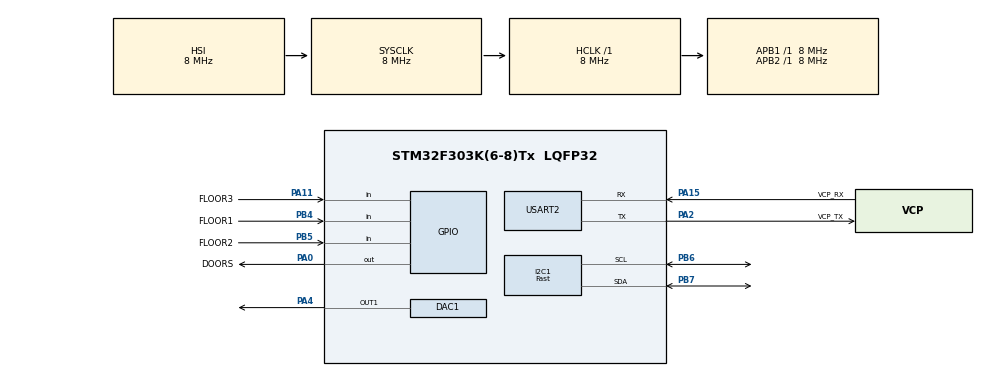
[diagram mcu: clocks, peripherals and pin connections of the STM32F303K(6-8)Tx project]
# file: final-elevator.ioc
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DAC1.DAC_Trigger=DAC_TRIGGER_T2_TRGO
Dma.DAC1_CH1.0.Direction=DMA_MEMORY_TO_PERIPH
Dma.DAC1_CH1.0.Instance=DMA1_Channel3
Dma.DAC1_CH1.0.MemDataAlignment=DMA_MDATAALIGN_BYTE
Dma.DAC1_CH1.0.MemInc=DMA_MINC_ENABLE
Dma.DAC1_CH1.0.Mode=DMA_CIRCULAR
Dma.DAC1_CH1.0.PeriphDataAlignment=DMA_PDATAALIGN_BYTE
Dma.DAC1_CH1.0.PeriphInc=DMA_PINC_DISABLE
Dma.DAC1_CH1.0.Priority=DMA_PRIORITY_LOW
Dma.Request0=DAC1_CH1
I2C1.I2C_Speed_Mode=I2C_Fast
I2C1.Timing=0x0010020A
Mcu.Family=STM32F3
Mcu.Name=STM32F303K(6-8)Tx
Mcu.Package=LQFP32
NVIC.DMA1_Channel3_IRQn=true\:0\:0\:false\:false\:true\:false\:true\:true
NVIC.PriorityGroup=NVIC_PRIORITYGROUP_4
PA0.GPIO_Label=DOORS
PA0.Signal=GPIO_Output
PA11.GPIO_Label=FLOOR3
PA11.GPIO_PuPd=GPIO_PULLDOWN
PA11.Signal=GPIO_Input
PA13.GPIO_Label=SWDIO
PA13.Mode=Serial_Wire
PA13.Signal=SYS_JTMS-SWDIO
PA14.GPIO_Label=SWCLK
PA14.Mode=Serial_Wire
PA14.Signal=SYS_JTCK-SWCLK
PA15.GPIO_Label=VCP_RX
PA15.Mode=Asynchronous
PA15.Signal=USART2_RX
PA2.GPIO_Label=VCP_TX
PA2.Mode=Asynchronous
PA2.Signal=USART2_TX
PA4.Signal=COMP_DAC11_group
PB4.GPIO_Label=FLOOR1
PB4.GPIO_PuPd=GPIO_PULLDOWN
PB4.Signal=GPIO_Input
PB5.GPIO_Label=FLOOR2
PB5.GPIO_PuPd=GPIO_PULLDOWN
PB5.Signal=GPIO_Input
PB6.Mode=I2C
PB6.Signal=I2C1_SCL
PB7.Mode=I2C
PB7.Signal=I2C1_SDA
PF0\ /\ OSC_IN.GPIO_Label=MCO
PF0\ /\ OSC_IN.Mode=HSE-External-Clock-Source
PF0\ /\ OSC_IN.Signal=RCC_OSC_IN
ProjectManager.HeapSize=0x200
ProjectManager.StackSize=0x400
ProjectManager.TargetToolchain=STM32CubeIDE
RCC.AHBFreq_Value=8000000
RCC.APB1Freq_Value=8000000
RCC.APB1TimFreq_Value=8000000
RCC.APB2Freq_Value=8000000
RCC.APB2TimFreq_Value=8000000
RCC.CortexFreq_Value=8000000
RCC.HCLKFreq_Value=8000000
RCC.HSE_VALUE=8000000
RCC.HSI_VALUE=8000000
RCC.SYSCLKFreq_VALUE=8000000
SH.COMP_DAC11_group.0=DAC1_OUT1,DAC_OUT1
TIM2.AutoReloadPreload=TIM_AUTORELOAD_PRELOAD_ENABLE
TIM2.Period=256
USART2.VirtualMode-Asynchronous=VM_ASYNC
VP_TIM2_VS_ClockSourceINT.Mode=Internal
board=NUCLEO-F303K8

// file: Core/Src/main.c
/* USER CODE BEGIN Header */
/**
  ******************************************************************************
  * @file           : main.c
  * @brief          : Main program body
  ******************************************************************************
  * @attention
  *
  * Copyright (c) 2024 STMicroelectronics.
  * All rights reserved.
  *
  * This software is licensed under terms that can be found in the LICENSE file
  * in the root directory of this software component.
  * If no LICENSE file comes with this software, it is provided AS-IS.
  *
  ******************************************************************************
  */
/* USER CODE END Header */
#include "main.h"

/* USER CODE BEGIN Includes */
#include <stdio.h>
#include "ssd1306.h"
#include "stm32DAC.h"
/* USER CODE END Includes */

DAC_HandleTypeDef hdac1;
DMA_HandleTypeDef hdma_dac1_ch1;

I2C_HandleTypeDef hi2c1;

TIM_HandleTypeDef htim2;

UART_HandleTypeDef huart2;

void SystemClock_Config(void);
static void MX_GPIO_Init(void);
static void MX_DMA_Init(void);
static void MX_USART2_UART_Init(void);
static void MX_I2C1_Init(void);
static void MX_DAC1_Init(void);
static void MX_TIM2_Init(void);

/* USER CODE BEGIN 0 */
typedef enum
{
UP,
DOWN,
IDLE,
BOARDING
} eSystemState;

typedef enum { false, true } bool;

int8_t cf = 0;
int8_t ct = 0;
int8_t s[3] = {0};
char state = 'I';
const int8_t T = 3;
const int8_t B = 0;

void pollinputs(){
	if(HAL_GPIO_ReadPin(GPIOB, FLOOR1_Pin)){
		s[0] = true;
	}

	if(HAL_GPIO_ReadPin(GPIOB, FLOOR2_Pin)){
		s[1] = true;
	}

	if(HAL_GPIO_ReadPin(GPIOA, FLOOR3_Pin)){
		s[2] = true;
	}
}

eSystemState upHandler(){
	state = 'H';
	HAL_Delay(1000);
	cf++;
	if(cf >= T){
		cf = T;
		return IDLE;
	}
	pollinputs();
	if(s[cf] == true){
		ct = cf;
	}
	if(cf < ct){
		return UP;
	}
	return IDLE;
}

eSystemState downHandler(){
	state = 'D';
	HAL_Delay(1000);
	cf--;
	if(cf <= B){
		cf = B;
		return IDLE;
	}
	pollinputs();
	if(s[cf] == true){
		ct = cf;
	}
	if(cf > ct){
		return DOWN;
	}
	return IDLE;
}

eSystemState idleHandler(){
	// handle polling
	state = 'I';
	HAL_Delay(500);
	if(cf < ct){
		return UP;
	}
	if(cf == ct){
		return BOARDING;
	}

	return IDLE;
}

eSystemState boardingHandler(){
	state = 'B';
	uint8_t count = 0;
	while(count++ < 10){
		HAL_TIM_Base_Start(&htim2);
		__HAL_TIM_SET_AUTORELOAD(&htim2, sine);
		HAL_TIM_GenerateEvent(&htim2, TIM_EVENTSOURCE_UPDATE);
	  }
	HAL_TIM_Base_Stop(&htim2);
	HAL_Delay(3000);
	//s[cf] = false;
	return IDLE;
}
/* USER CODE END 0 */

int main(void)
{

  /* MCU Configuration--------------------------------------------------------*/

  /* Reset of all peripherals, Initializes the Flash interface and the Systick. */
  HAL_Init();

  /* Configure the system clock */
  SystemClock_Config();

  /* Initialize all configured peripherals */
  MX_GPIO_Init();
  MX_DMA_Init();
  MX_USART2_UART_Init();
  MX_I2C1_Init();
  MX_DAC1_Init();
  MX_TIM2_Init();
  /* USER CODE BEGIN 2 */
  HAL_DAC_Start_DMA(&hdac1, DAC_CHANNEL_1, (uint32_t*) sine, SAMPLESIZE, DAC_ALIGN_8B_R);

  ssd1306_Init();
  char text[20] = {0};
  uint8_t counter = 0;
  ssd1306_Fill(Black);
  ssd1306_UpdateScreen();

  eSystemState currentstate = IDLE;
  /* USER CODE END 2 */

  /* Infinite loop */
  while (1)
  {

    /* USER CODE BEGIN 3 */
	  sprintf(text, "cf 1 2 3 s count", s[0], s[1], s[2]);
	  ssd1306_SetCursor(1, 1);
	  ssd1306_WriteString(text, Font_7x10, White);
	  sprintf(text, "%d  %d %d %d %c %d", cf, s[0], s[1], s[2], state, counter);
	  ssd1306_SetCursor(1, 25);
	  ssd1306_WriteString(text, Font_7x10, White);
	  ssd1306_UpdateScreen();
	  counter++;

	  for(uint8_t i = 0; i < 3; i++){
		  if(s[i] == true && cf == ct){
			  s[i] = false;
		  }
	  }
	  HAL_Delay(500);
	  /*
	  HAL_GPIO_WritePin(GPIOA, DOORS_Pin, GPIO_PIN_RESET);
	  HAL_Delay(100);
	  HAL_GPIO_WritePin(GPIOA, DOORS_Pin, GPIO_PIN_SET);
	  HAL_Delay(50);
	  */
	  /*
	   * UP
	   * DOWN
	   * IDLE
	   * BOARDING
	   */
	  switch(currentstate){
	  case UP:
		  currentstate = upHandler();
		  break;
	  case DOWN:
		  currentstate = downHandler();
		  break;
	  case BOARDING:
		  currentstate = boardingHandler();
		  break;
	  default:
		  currentstate = idleHandler();
		  break;
	  }

  }
  /* USER CODE END 3 */
}

void SystemClock_Config(void)
{
  RCC_OscInitTypeDef RCC_OscInitStruct = {0};
  RCC_ClkInitTypeDef RCC_ClkInitStruct = {0};
  RCC_PeriphCLKInitTypeDef PeriphClkInit = {0};

  /** Initializes the RCC Oscillators according to the specified parameters
  * in the RCC_OscInitTypeDef structure.
  */
  RCC_OscInitStruct.OscillatorType = RCC_OSCILLATORTYPE_HSI;
  RCC_OscInitStruct.HSIState = RCC_HSI_ON;
  RCC_OscInitStruct.HSICalibrationValue = RCC_HSICALIBRATION_DEFAULT;
  RCC_OscInitStruct.PLL.PLLState = RCC_PLL_NONE;
  if (HAL_RCC_OscConfig(&RCC_OscInitStruct) != HAL_OK)
  {
    Error_Handler();
  }

  /** Initializes the CPU, AHB and APB buses clocks
  */
  RCC_ClkInitStruct.ClockType = RCC_CLOCKTYPE_HCLK|RCC_CLOCKTYPE_SYSCLK
                              |RCC_CLOCKTYPE_PCLK1|RCC_CLOCKTYPE_PCLK2;
  RCC_ClkInitStruct.SYSCLKSource = RCC_SYSCLKSOURCE_HSI;
  RCC_ClkInitStruct.AHBCLKDivider = RCC_SYSCLK_DIV1;
  RCC_ClkInitStruct.APB1CLKDivider = RCC_HCLK_DIV1;
  RCC_ClkInitStruct.APB2CLKDivider = RCC_HCLK_DIV1;

  if (HAL_RCC_ClockConfig(&RCC_ClkInitStruct, FLASH_LATENCY_0) != HAL_OK)
  {
    Error_Handler();
  }
  PeriphClkInit.PeriphClockSelection = RCC_PERIPHCLK_I2C1;
  PeriphClkInit.I2c1ClockSelection = RCC_I2C1CLKSOURCE_HSI;
  if (HAL_RCCEx_PeriphCLKConfig(&PeriphClkInit) != HAL_OK)
  {
    Error_Handler();
  }
}

static void MX_DAC1_Init(void)
{

  DAC_ChannelConfTypeDef sConfig = {0};

  /** DAC Initialization
  */
  hdac1.Instance = DAC1;
  if (HAL_DAC_Init(&hdac1) != HAL_OK)
  {
    Error_Handler();
  }

  /** DAC channel OUT1 config
  */
  sConfig.DAC_Trigger = DAC_TRIGGER_T2_TRGO;
  sConfig.DAC_OutputBuffer = DAC_OUTPUTBUFFER_ENABLE;
  if (HAL_DAC_ConfigChannel(&hdac1, &sConfig, DAC_CHANNEL_1) != HAL_OK)
  {
    Error_Handler();
  }

}

static void MX_I2C1_Init(void)
{

  hi2c1.Instance = I2C1;
  hi2c1.Init.Timing = 0x0010020A;
  hi2c1.Init.OwnAddress1 = 0;
  hi2c1.Init.AddressingMode = I2C_ADDRESSINGMODE_7BIT;
  hi2c1.Init.DualAddressMode = I2C_DUALADDRESS_DISABLE;
  hi2c1.Init.OwnAddress2 = 0;
  hi2c1.Init.OwnAddress2Masks = I2C_OA2_NOMASK;
  hi2c1.Init.GeneralCallMode = I2C_GENERALCALL_DISABLE;
  hi2c1.Init.NoStretchMode = I2C_NOSTRETCH_DISABLE;
  if (HAL_I2C_Init(&hi2c1) != HAL_OK)
  {
    Error_Handler();
  }

  /** Configure Analogue filter
  */
  if (HAL_I2CEx_ConfigAnalogFilter(&hi2c1, I2C_ANALOGFILTER_ENABLE) != HAL_OK)
  {
    Error_Handler();
  }

  /** Configure Digital filter
  */
  if (HAL_I2CEx_ConfigDigitalFilter(&hi2c1, 0) != HAL_OK)
  {
    Error_Handler();
  }

}

static void MX_TIM2_Init(void)
{

  TIM_ClockConfigTypeDef sClockSourceConfig = {0};
  TIM_MasterConfigTypeDef sMasterConfig = {0};

  htim2.Instance = TIM2;
  htim2.Init.Prescaler = 0;
  htim2.Init.CounterMode = TIM_COUNTERMODE_UP;
  htim2.Init.Period = 256;
  htim2.Init.ClockDivision = TIM_CLOCKDIVISION_DIV1;
  htim2.Init.AutoReloadPreload = TIM_AUTORELOAD_PRELOAD_ENABLE;
  if (HAL_TIM_Base_Init(&htim2) != HAL_OK)
  {
    Error_Handler();
  }
  sClockSourceConfig.ClockSource = TIM_CLOCKSOURCE_INTERNAL;
  if (HAL_TIM_ConfigClockSource(&htim2, &sClockSourceConfig) != HAL_OK)
  {
    Error_Handler();
  }
  sMasterConfig.MasterOutputTrigger = TIM_TRGO_RESET;
  sMasterConfig.MasterSlaveMode = TIM_MASTERSLAVEMODE_DISABLE;
  if (HAL_TIMEx_MasterConfigSynchronization(&htim2, &sMasterConfig) != HAL_OK)
  {
    Error_Handler();
  }

}

static void MX_USART2_UART_Init(void)
{

  huart2.Instance = USART2;
  huart2.Init.BaudRate = 38400;
  huart2.Init.WordLength = UART_WORDLENGTH_8B;
  huart2.Init.StopBits = UART_STOPBITS_1;
  huart2.Init.Parity = UART_PARITY_NONE;
  huart2.Init.Mode = UART_MODE_TX_RX;
  huart2.Init.HwFlowCtl = UART_HWCONTROL_NONE;
  huart2.Init.OverSampling = UART_OVERSAMPLING_16;
  huart2.Init.OneBitSampling = UART_ONE_BIT_SAMPLE_DISABLE;
  huart2.AdvancedInit.AdvFeatureInit = UART_ADVFEATURE_NO_INIT;
  if (HAL_UART_Init(&huart2) != HAL_OK)
  {
    Error_Handler();
  }

}

static void MX_DMA_Init(void)
{

  /* DMA controller clock enable */
  __HAL_RCC_DMA1_CLK_ENABLE();

  /* DMA interrupt init */
  /* DMA1_Channel3_IRQn interrupt configuration */
  HAL_NVIC_SetPriority(DMA1_Channel3_IRQn, 0, 0);
  HAL_NVIC_EnableIRQ(DMA1_Channel3_IRQn);

}

static void MX_GPIO_Init(void)
{
  GPIO_InitTypeDef GPIO_InitStruct = {0};

  /* GPIO Ports Clock Enable */
  __HAL_RCC_GPIOF_CLK_ENABLE();
  __HAL_RCC_GPIOA_CLK_ENABLE();
  __HAL_RCC_GPIOB_CLK_ENABLE();

  /*Configure GPIO pin Output Level */
  HAL_GPIO_WritePin(DOORS_GPIO_Port, DOORS_Pin, GPIO_PIN_RESET);

  /*Configure GPIO pin : DOORS_Pin */
  GPIO_InitStruct.Pin = DOORS_Pin;
  GPIO_InitStruct.Mode = GPIO_MODE_OUTPUT_PP;
  GPIO_InitStruct.Pull = GPIO_NOPULL;
  GPIO_InitStruct.Speed = GPIO_SPEED_FREQ_LOW;
  HAL_GPIO_Init(DOORS_GPIO_Port, &GPIO_InitStruct);

  /*Configure GPIO pin : FLOOR3_Pin */
  GPIO_InitStruct.Pin = FLOOR3_Pin;
  GPIO_InitStruct.Mode = GPIO_MODE_INPUT;
  GPIO_InitStruct.Pull = GPIO_PULLDOWN;
  HAL_GPIO_Init(FLOOR3_GPIO_Port, &GPIO_InitStruct);

  /*Configure GPIO pins : FLOOR1_Pin FLOOR2_Pin */
  GPIO_InitStruct.Pin = FLOOR1_Pin|FLOOR2_Pin;
  GPIO_InitStruct.Mode = GPIO_MODE_INPUT;
  GPIO_InitStruct.Pull = GPIO_PULLDOWN;
  HAL_GPIO_Init(GPIOB, &GPIO_InitStruct);

}

void Error_Handler(void)
{
  __disable_irq();
  while (1)
  {
  }
}
